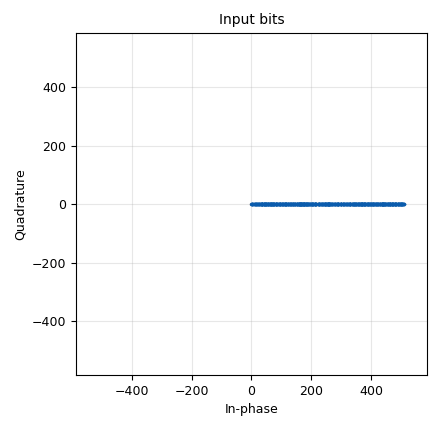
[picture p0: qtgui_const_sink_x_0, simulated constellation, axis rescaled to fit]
options:
  parameters:
    author: mzemlo.pl@gmail.com
    generate_options: qt_gui
    id: bpsk_01
    output_language: python
    title: bpsk_01
  states: {}

blocks:
- name: datarate
  id: variable
  parameters:
    value: '16000'
  states: {}
- name: f
  id: variable
  parameters:
    value: samp_rate/3
  states: {state: disabled}
- name: f
  id: variable_qtgui_range
  parameters:
    start: '-samp_rate/2'
    step: '100'
    stop: samp_rate/2
    value: '0'
  states: {state: disabled}
- name: f
  id: variable_qtgui_chooser
  parameters:
    label0: 'f: 0'
    label1: 'f: 1 000'
    label2: 'f: -2 000'
    num_opts: '3'
    option0: '0'
    option1: '1000'
    option2: '-2000'
    type: int
    value: '0'
  states: {}
- name: samp_rate
  id: variable
  parameters:
    value: '32000'
  states: {}
- name: analog_const_source_x_0
  id: analog_const_source_x
  parameters:
    const: '0'
    type: float
  states: {}
- name: analog_random_uniform_source_x_1
  id: analog_random_uniform_source_x
  parameters:
    maximum: '256'
    minimum: '0'
    seed: '0'
    type: byte
  states: {}
- name: blocks_add_const_vxx_0
  id: blocks_add_const_vxx
  parameters:
    const: '-1'
    type: float
  states: {}
- name: blocks_complex_to_float_0
  id: blocks_complex_to_float
  parameters: {}
  states: {}
- name: blocks_float_to_complex_0
  id: blocks_float_to_complex
  parameters: {}
  states: {}
- name: blocks_multiply_const_vxx_0
  id: blocks_multiply_const_vxx
  parameters:
    const: '2'
    type: float
  states: {}
- name: blocks_threshold_ff_0
  id: blocks_threshold_ff
  parameters:
    high: '0'
    init: '0'
    low: '0'
  states: {}
- name: blocks_throttle2_0
  id: blocks_throttle2
  parameters:
    samples_per_second: samp_rate
    type: byte
  states: {}
- name: blocks_uchar_to_float_0
  id: blocks_uchar_to_float
  parameters: {}
  states: {}
- name: qtgui_const_sink_x_0
  id: qtgui_const_sink_x
  parameters:
    name: '"Input bits"'
    size: '1024'
    type: complex
  states: {}
- name: qtgui_number_sink_0
  id: qtgui_number_sink
  parameters:
    graph_type: qtgui.NUM_GRAPH_HORIZ
    max: '256'
    min: '0'
    name: input_bits
    type: float
  states: {}
- name: qtgui_number_sink_1
  id: qtgui_number_sink
  parameters:
    graph_type: qtgui.NUM_GRAPH_HORIZ
    min: '0'
    name: '"Output"'
    type: float
  states: {}

connections:
- [analog_const_source_x_0, '0', blocks_float_to_complex_0, '1']
- [analog_random_uniform_source_x_1, '0', blocks_throttle2_0, '0']
- [blocks_add_const_vxx_0, '0', blocks_float_to_complex_0, '0']
- [blocks_complex_to_float_0, '0', blocks_threshold_ff_0, '0']
- [blocks_float_to_complex_0, '0', blocks_complex_to_float_0, '0']
- [blocks_float_to_complex_0, '0', qtgui_const_sink_x_0, '0']
- [blocks_multiply_const_vxx_0, '0', blocks_add_const_vxx_0, '0']
- [blocks_threshold_ff_0, '0', qtgui_number_sink_1, '0']
- [blocks_throttle2_0, '0', blocks_uchar_to_float_0, '0']
- [blocks_uchar_to_float_0, '0', blocks_multiply_const_vxx_0, '0']
- [blocks_uchar_to_float_0, '0', qtgui_number_sink_0, '0']

metadata:
  file_format: 1
  grc_version: 3.10.9.2
